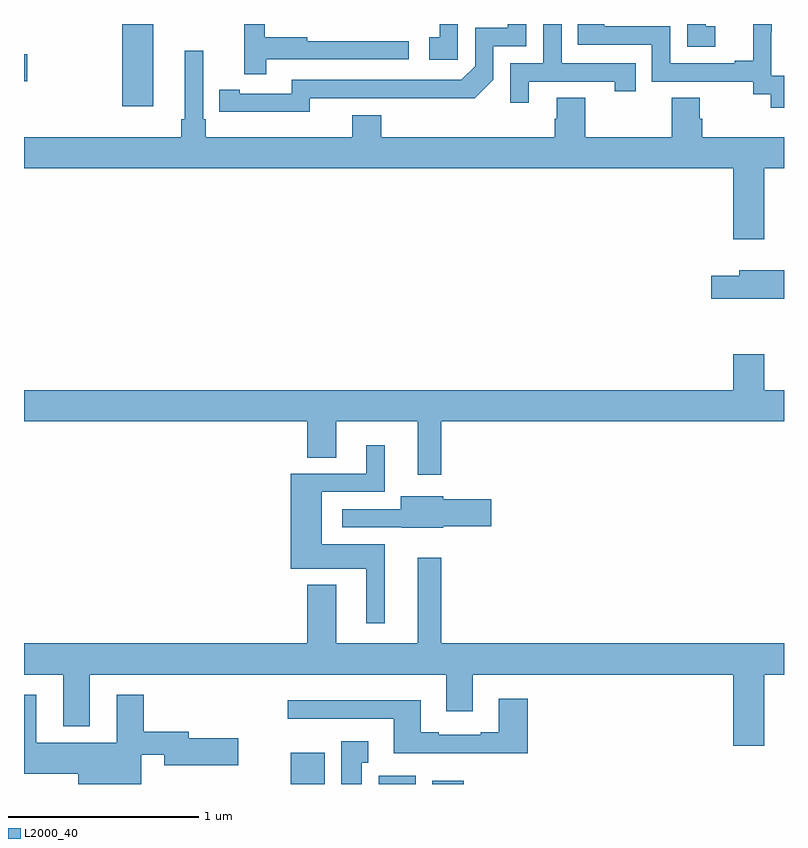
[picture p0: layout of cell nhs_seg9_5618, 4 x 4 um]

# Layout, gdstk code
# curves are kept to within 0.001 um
import gdstk
lib = gdstk.Library(unit=1e-6, precision=1e-09)
def R(c, l, rs):  # rectangles x0, y0, x1, y1
    for r in rs: c.add(gdstk.rectangle(r[:2], r[2:], *l))
def P(c, l, *ps):  # polygons
    for p in ps: c.add(gdstk.Polygon(p, *l))
L2000_40 = (2000, 40)

nhs_seg9_5618 = lib.new_cell('nhs_seg9_5618')
R(nhs_seg9_5618, L2000_40, [(438.404,1206.5,438.583,1206.664), (438.866,1206.5,439.063,1206.544), (439.148,1206.5,439.315,1206.517), (437.516,1210.068,437.68,1210.5), (437,1210.198,437.017,1210.34), (438.579,1210.499,439.006,1210.5)])
P(nhs_seg9_5618, L2000_40, [(438.504,1210.11),(439.372,1210.109),(439.47,1210.206),(439.47,1210.383),(439.644,1210.383),(439.644,1210.5),(439.547,1210.5),(439.547,1210.479),(439.374,1210.479),(439.374,1210.278),(439.302,1210.206),(438.408,1210.206),(438.408,1210.134),(438.136,1210.134),(438.136,1210.154),(438.028,1210.154),(438.028,1210.038),(438.504,1210.037)],
  [(439.284,1210.5),(439.187,1210.5),(439.187,1210.431),(439.134,1210.431),(439.134,1210.311),(439.284,1210.311)],
  [(438.275,1210.314),(439.024,1210.314),(439.024,1210.41),(438.491,1210.41),(438.491,1210.43),(438.268,1210.43),(438.268,1210.5),(438.158,1210.5),(438.158,1210.236),(438.275,1210.236)],
  [(441,1210.227),(440.934,1210.227),(440.934,1210.457),(440.936,1210.457),(440.936,1210.5),(440.837,1210.5),(440.837,1210.306),(440.741,1210.306),(440.741,1210.293),(440.4,1210.293),(440.4,1210.488),(440.055,1210.488),(440.055,1210.5),(439.915,1210.5),(439.915,1210.392),(440.304,1210.392),(440.304,1210.197),(440.838,1210.197),(440.838,1210.129),(440.931,1210.129),(440.931,1210.059),(441,1210.059)],
  [(439.657,1210.197),(440.108,1210.197),(440.108,1210.146),(440.219,1210.146),(440.219,1210.293),(439.83,1210.293),(439.83,1210.5),(439.734,1210.5),(439.734,1210.293),(439.56,1210.293),(439.56,1210.086),(439.657,1210.086)],
  [(440.638,1210.489),(440.589,1210.489),(440.589,1210.5),(440.49,1210.5),(440.49,1210.38),(440.638,1210.38)],
  [(440.557,1210.002),(440.557,1210.112),(440.41,1210.112),(440.41,1209.904),(439.953,1209.904),(439.953,1210.112),(439.805,1210.112),(439.805,1210.002),(439.793,1210.002),(439.793,1209.904),(438.881,1209.904),(438.881,1210.021),(438.728,1210.021),(438.728,1209.904),(437.957,1209.904),(437.957,1210),(437.943,1210),(437.943,1210.36),(437.846,1210.36),(437.846,1210),(437.827,1210),(437.827,1209.904),(437,1209.904),(437,1209.74),(440.732,1209.74),(440.732,1209.366),(440.896,1209.366),(440.896,1209.74),(441,1209.74),(441,1209.904),(440.57,1209.904),(440.57,1210.002)],
  [(441,1209.205),(440.765,1209.205),(440.765,1209.175),(440.616,1209.175),(440.616,1209.053),(441,1209.053)],
  [(439.195,1208.408),(441,1208.408),(441,1208.572),(440.896,1208.572),(440.896,1208.761),(440.732,1208.761),(440.732,1208.572),(437,1208.572),(437,1208.408),(438.491,1208.408),(438.491,1208.218),(438.643,1208.218),(438.643,1208.408),(439.073,1208.408),(439.073,1208.127),(439.195,1208.127)],
  [(438.898,1207.762),(438.568,1207.762),(438.568,1208.037),(438.898,1208.037),(438.898,1208.284),(438.8,1208.284),(438.8,1208.133),(438.404,1208.133),(438.404,1207.634),(438.8,1207.634),(438.8,1207.347),(438.898,1207.347)],
  [(439.206,1207.856),(439.459,1207.856),(439.459,1207.998),(439.206,1207.998),(439.206,1208.014),(438.983,1208.014),(438.983,1207.947),(438.675,1207.947),(438.675,1207.851),(438.987,1207.851),(438.987,1207.85),(439.206,1207.85)],
  [(440.896,1207.076),(441,1207.076),(441,1207.24),(439.195,1207.24),(439.195,1207.69),(439.073,1207.69),(439.073,1207.24),(438.643,1207.24),(438.643,1207.549),(438.491,1207.549),(438.491,1207.24),(437,1207.24),(437,1207.076),(437.207,1207.076),(437.207,1206.803),(437.347,1206.803),(437.347,1207.076),(439.223,1207.076),(439.223,1206.882),(439.363,1206.882),(439.363,1207.076),(440.732,1207.076),(440.732,1206.702),(440.896,1206.702)],
  [(437.617,1206.654),(437.738,1206.654),(437.738,1206.599),(438.127,1206.599),(438.127,1206.741),(437.866,1206.741),(437.866,1206.775),(437.63,1206.775),(437.63,1206.97),(437.489,1206.97),(437.489,1206.718),(437.065,1206.718),(437.065,1206.97),(437,1206.97),(437,1206.554),(437.285,1206.554),(437.285,1206.5),(437.617,1206.5)],
  [(439.652,1206.949),(439.499,1206.949),(439.499,1206.772),(439.403,1206.772),(439.403,1206.759),(439.183,1206.759),(439.183,1206.772),(439.087,1206.772),(439.087,1206.94),(438.387,1206.94),(438.387,1206.843),(438.947,1206.843),(438.947,1206.662),(439.652,1206.662)],
  [(438.778,1206.611),(438.811,1206.611),(438.811,1206.724),(438.671,1206.724),(438.671,1206.5),(438.778,1206.5)])

lib.write_gds('nhs_seg9_5618.gds')
